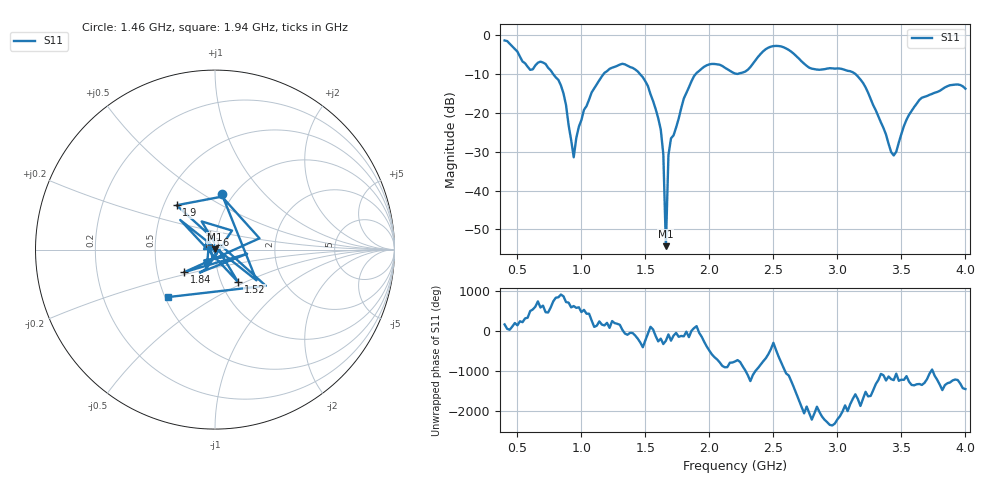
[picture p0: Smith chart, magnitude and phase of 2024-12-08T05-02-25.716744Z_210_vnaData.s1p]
!Created with skrf (http://scikit-rf.org).
# Hz S RI R 50.0
!freq ReS11 ImS11
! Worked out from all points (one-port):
!   181 points, 400 MHz to 4 GHz, reference 50 ohm
!   lowest |S11| = -54.3 dB at 1.66 GHz (marker M1), VSWR 1.00, Z = 49.9 + j0.156 ohm
!   |S11| at or under -10 dB: 779.5 MHz to 1.173 GHz (393.6 MHz wide, 40.3 % of centre); 1.458 GHz to 1.893 GHz (435.2 MHz wide, 26 % of centre); 3.142 GHz to end of sweep
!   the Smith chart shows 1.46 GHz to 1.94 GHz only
!   S11 on the Smith chart (normalised r, x): 1.46 GHz: 0.88, +0.61; 1.52 GHz: 1.20, -0.45; 1.6 GHz: 0.93, +0.15; 1.84 GHz: 0.69, -0.18; 1.9 GHz: 0.58, +0.32; 1.94 GHz: 0.52, -0.32
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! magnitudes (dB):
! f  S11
! 400 MHz  -1.3
! 600 MHz  -8.9
! 720 MHz  -7.4
! 860 MHz  -15.0
! 940 MHz  -31.4
! 980 MHz  -23.5
! 1.08 GHz  -14.7
! 1.3 GHz  -7.6
! 1.46 GHz  -10.1
! 1.52 GHz  -13.1
! 1.6 GHz  -21.4
! 1.64 GHz  -30.6
! 1.66 GHz  -54.3
! 1.68 GHz  -30.8
! 1.76 GHz  -21.4
! 1.84 GHz  -13.4
! 1.9 GHz  -9.7
! 1.94 GHz  -8.6
! 2.2 GHz  -9.9
! 2.48 GHz  -2.9
! 2.66 GHz  -4.8
! 2.8 GHz  -8.6
! 3.1 GHz  -9.3
! 3.22 GHz  -13.4
! 3.44 GHz  -30.9
! 3.56 GHz  -20.5
! 3.66 GHz  -16.1
! 4 GHz  -13.8
